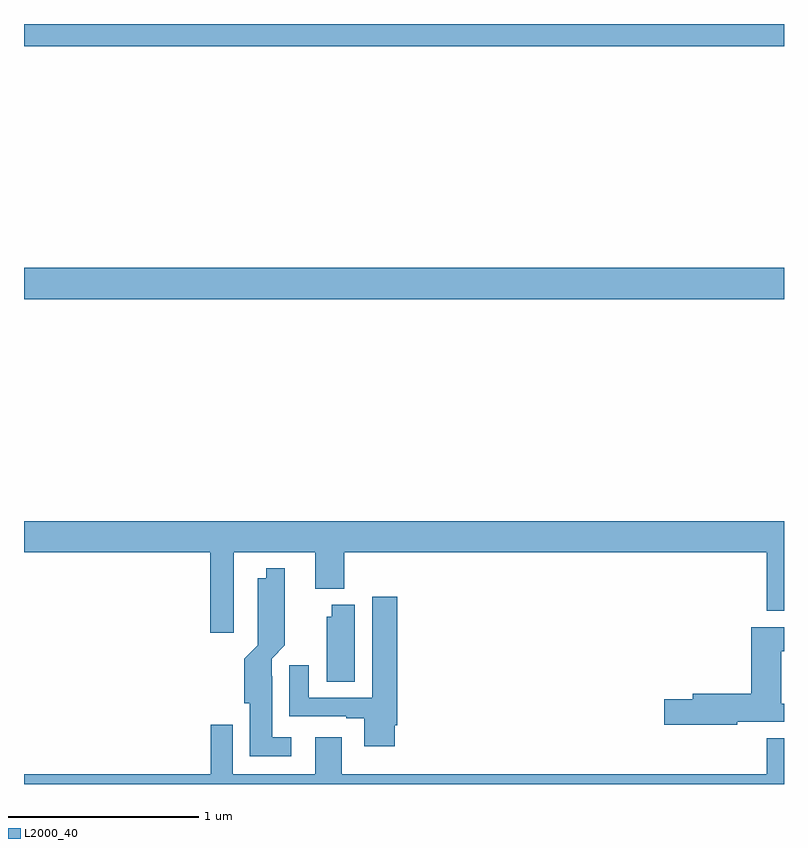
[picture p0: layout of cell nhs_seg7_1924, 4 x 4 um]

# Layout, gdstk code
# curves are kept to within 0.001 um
import gdstk
lib = gdstk.Library(unit=1e-6, precision=1e-09)
def R(c, l, rs):  # rectangles x0, y0, x1, y1
    for r in rs: c.add(gdstk.rectangle(r[:2], r[2:], *l))
def P(c, l, *ps):  # polygons
    for p in ps: c.add(gdstk.Polygon(p, *l))
L2000_40 = (2000, 40)

nhs_seg7_1924 = lib.new_cell('nhs_seg7_1924')
R(nhs_seg7_1924, L2000_40, [(239,1064.552,243,1064.716), (239,1065.884,243,1066)])
P(nhs_seg7_1924, L2000_40, [(240.103,1063.22),(240.533,1063.22),(240.533,1063.028),(240.686,1063.028),(240.686,1063.22),(242.909,1063.22),(242.909,1062.911),(243,1062.911),(243,1063.384),(239,1063.384),(239,1063.22),(239.981,1063.22),(239.981,1062.795),(240.103,1062.795)],
  [(240.406,1062.247),(240.307,1062.247),(240.307,1062.566),(240.303,1062.566),(240.303,1062.66),(240.373,1062.73),(240.372,1063.135),(240.275,1063.135),(240.275,1063.084),(240.23,1063.084),(240.23,1062.73),(240.158,1062.658),(240.158,1062.426),(240.188,1062.426),(240.188,1062.146),(240.406,1062.146)],
  [(240.952,1062.31),(240.965,1062.31),(240.965,1062.985),(240.833,1062.985),(240.833,1062.453),(240.499,1062.453),(240.499,1062.625),(240.395,1062.625),(240.395,1062.357),(240.695,1062.357),(240.695,1062.345),(240.791,1062.345),(240.791,1062.198),(240.952,1062.198)],
  [(240.742,1062.943),(240.62,1062.943),(240.62,1062.879),(240.593,1062.879),(240.593,1062.538),(240.742,1062.538)],
  [(242.754,1062.327),(243,1062.327),(243,1062.423),(242.986,1062.423),(242.986,1062.698),(243,1062.698),(243,1062.826),(242.828,1062.826),(242.828,1062.476),(242.519,1062.476),(242.519,1062.446),(242.37,1062.446),(242.37,1062.311),(242.754,1062.311)],
  [(243,1062.242),(242.909,1062.242),(242.909,1062.052),(240.673,1062.052),(240.673,1062.247),(240.533,1062.247),(240.533,1062.052),(240.099,1062.052),(240.099,1062.313),(239.983,1062.313),(239.983,1062.052),(239,1062.052),(239,1062),(243,1062)])

lib.write_gds('nhs_seg7_1924.gds')
